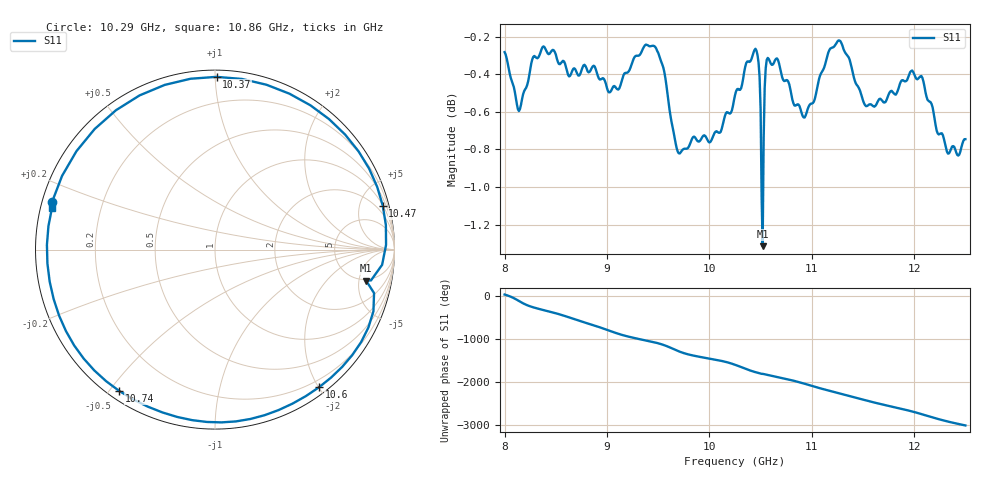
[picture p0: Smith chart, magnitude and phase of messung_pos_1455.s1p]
#  HZ  S  RI  R  50.00
! Rohde & Schwarz Vector Network Analyzer
! Rohde-Schwarz,ZNA43-4Port,1332450044101932,2.92
! Created: UTC 6/1/2026, 11:34:15 AM
! freq[Hz]  re:S11  im:S11
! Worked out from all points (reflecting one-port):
!   451 points, 8 GHz to 12.5 GHz, reference 50 ohm
!   lowest |S11| = -1.3 dB at 10.52 GHz (marker M1), VSWR 13.24, Z = 238 - j315 ohm
!   phase of S11 starts at 25 deg and turns -3031 deg over the sweep
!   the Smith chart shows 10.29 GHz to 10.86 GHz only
!   S11 on the Smith chart (normalised r, x): 10.29 GHz: 0.03, +0.14; 10.37 GHz: 0.04, +1.01; 10.47 GHz: 1.04, +7.64; 10.6 GHz: 0.10, -2.00; 10.74 GHz: 0.03, -0.53; 10.86 GHz: 0.03, +0.13
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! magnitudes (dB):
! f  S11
! 8 GHz  -0.3
! 8.14 GHz  -0.6
! 8.37 GHz  -0.3
! 8.57 GHz  -0.3
! 9.13 GHz  -0.5
! 9.47 GHz  -0.3
! 9.55 GHz  -0.4
! 9.69 GHz  -0.8
! 10.01 GHz  -0.8
! 10.25 GHz  -0.5
! 10.29 GHz  -0.5
! 10.37 GHz  -0.3
! 10.47 GHz  -0.3
! 10.5 GHz  -0.6
! 10.52 GHz  -1.3
! 10.56 GHz  -0.3
! 10.6 GHz  -0.3
! 10.74 GHz  -0.4
! 10.82 GHz  -0.6
! 10.86 GHz  -0.6
! 10.94 GHz  -0.6
! 11.25 GHz  -0.2
! 11.38 GHz  -0.3
! 11.54 GHz  -0.6
! 11.94 GHz  -0.4
! 12.08 GHz  -0.4
! 12.33 GHz  -0.8
! 12.5 GHz  -0.7
